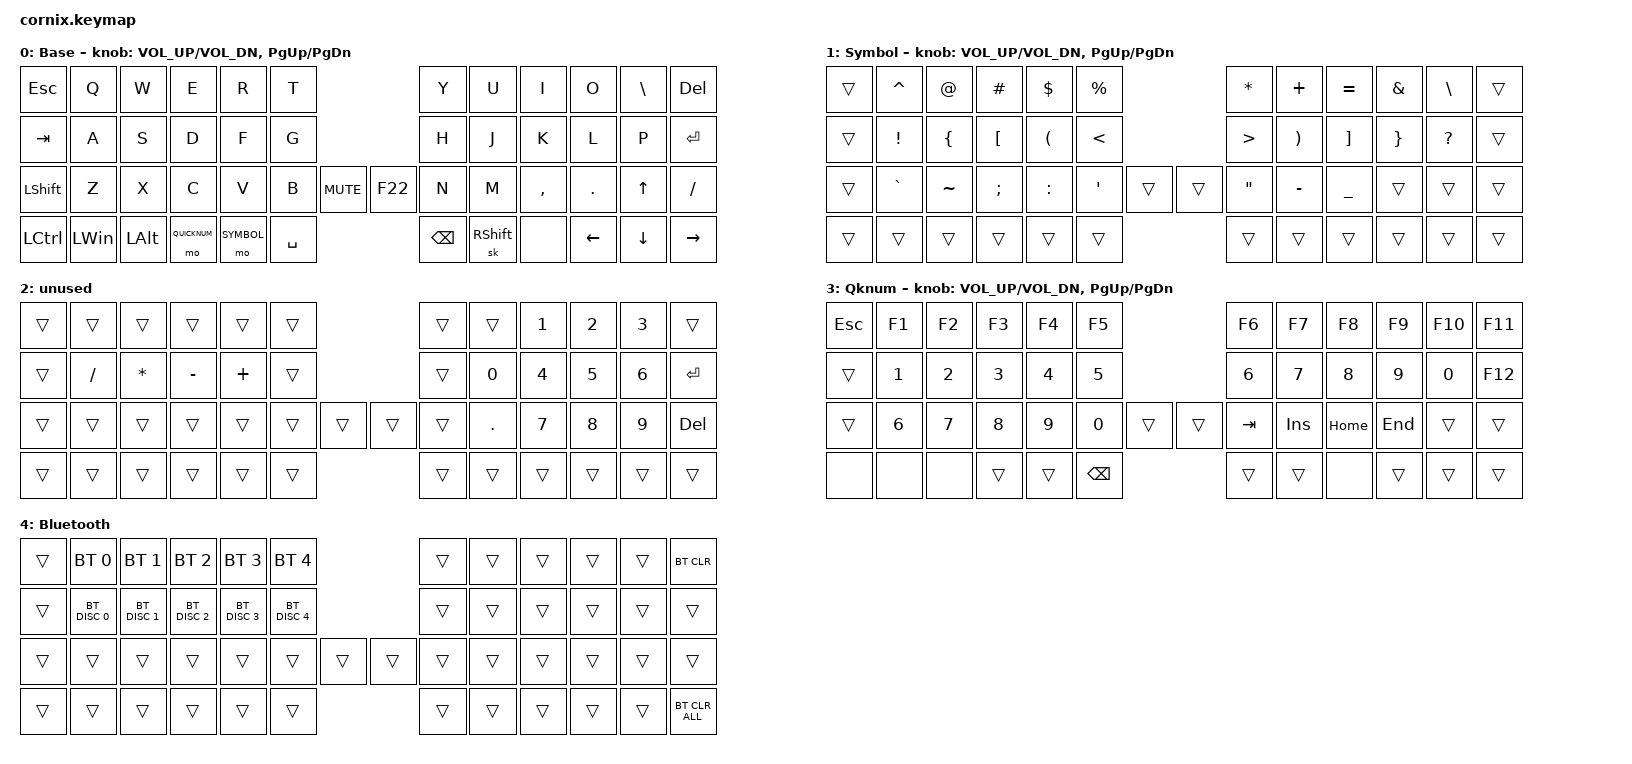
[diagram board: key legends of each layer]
/*
 * Copyright (c) 2020 The ZMK Contributors
 *
 * SPDX-License-Identifier: MIT
 */

#include "zmk-helpers/helper.h"
#include "includes/cornix54.h"

// tap windows for ctl alt and gui

#define HM_TAPPING_TERM 250
#define HM_TAPPING_REPEAT 210

// quick tapping for shift

#define HM_TAPPING_TERM_FAST 200
#define HM_PRIOR_IDLE 70

// Layer indices — MUST match the order the layers appear in `keymap` below.
// Bindings reference layers by these names, so reordering a layer block
// only requires updating this list, not hunting through bindings.

#define BASE 0
#define SYMBOL 1
#define NUMPAD 2
#define QUICKNUM 3
#define BLUETOOTH 4

// https://github.com/urob/zmk-config/tree/main#timeless-homerow-mods

#define KEYS_L LT0 LT1 LT2 LT3 LT4 LT5 LM0 LM1 LM2 LM3 LM4 LM5 LB0 LB1 LB2 LB3 LB4 LB5  // left hand
#define KEYS_R RT0 RT1 RT2 RT3 RT4 RT5 RM0 RM1 RM2 RM3 RM4 RM5 RB0 RB1 RB2 RB3 RB4 RB5  // right hand
#define THUMBS LH1 LH0 RH0 RH1
#define KEYS_T LH1 LH0 RH0 RH1
#define ZMK_POINTING_DEFAULT_SCRL_VAL 15

#include <behaviors.dtsi>
#include <dt-bindings/zmk/bt.h>
#include <dt-bindings/zmk/keys.h>

/ {
    // Bluetooth layer is active ONLY while both layer thumbs are held:
    // the Symbol thumb (&mo SYMBOL) and the QuickNum thumb (&mo QUICKNUM).
    // It is inherently momentary — releasing either thumb drops it.

    behaviors {
        // Positional Homerow mods for shift
        // Use faster tapping term and disable some features that may
        // cause false negatives.
        /*
         * Non-Positional Homerow Mods
         * Used for &mm_grescm_gui behavior on left hand.
         *
         * Usage: &hm LSHFT T
         * Tap: T
         * Tap-Tap-Hold: Repeat T
         * Hold: LSHIFT
         */
    };

    conditional_layers {
        compatible = "zmk,conditional-layers";

        bluetooth_layer {
            if-layers = <SYMBOL QUICKNUM>;
            then-layer = <BLUETOOTH>;
        };
    };

    combos { compatible = "zmk,combos"; };

    keymap {
        compatible = "zmk,keymap";

        Base {
            display-name = "Base";

            // ------------------------------------------------------------------------------------------------------------
            // |   `   |  1  |  2  |  3   |  4   |  5   |                   |  6   |  7    |  8    |  9   |   0   |       |
            // |  ESC  |  Q  |  W  |  E   |  R   |  T   |                   |  Y   |  U    |  I    |  O   |   P   | BKSPC |
            // |  TAB  |  A  |  S  |  D   |  F   |  G   |                   |  H   |  J    |  K    |  L   |   ;   |   '   |
            // | SHIFT |  Z  |  X  |  C   |  V   |  B   |  MUTE  |  |       |  N   |  M    |  ,    |  .   |   /   | SHIFT |
            //               | GUI | ALT  | CTRL | QKNUM| SPACE2 |  | BKSPC | SFT2 |  --  | LEFT  | DOWN | RIGHT |

            bindings = <
&kp ESCAPE      &kp Q         &kp W         &kp E         &kp R       &kp T                           &kp Y          &kp U            &kp I      &kp O     &kp BACKSLASH   &kp DELETE
&kp TAB         &kp A         &kp S         &kp D         &kp F       &kp G                           &kp H          &kp J            &kp K      &kp L     &kp P           &kp ENTER
&kp LEFT_SHIFT  &kp Z         &kp X         &kp C         &kp V       &kp B      &kp C_MUTE  &kp F22  &kp N          &kp M            &kp COMMA  &kp DOT   &kp UP_ARROW    &kp SLASH
&kp LCTRL       &kp LEFT_WIN  &kp LEFT_ALT  &mo QUICKNUM  &mo SYMBOL  &kp SPACE                       &kp BACKSPACE  &sk RIGHT_SHIFT  &none      &kp LEFT  &kp DOWN_ARROW  &kp RIGHT
            >;

            sensor-bindings = <&inc_dec_kp C_VOL_UP C_VOL_DN &inc_dec_kp PG_UP PG_DN>;
        };

        Symbol {
            display-name = "Symbol";

            // ------------------------------------------------------------------------------------------------------------
            // |   `   |  1  |  2  |  3   |  4   |  5   |                   |  6   |  7    |  8    |  9   |   0   |       |
            // |  ESC  |  Q  |  W  |  E   |  R   |  T   |                   |  Y   |  U    |  I    |  O   |   P   | BKSPC |
            // |  TAB  |  A  |  S  |  D   |  F   |  G   |                   |  H   |  J    |  K    |  L   |   ;   |   '   |
            // | SHIFT |  Z  |  X  |  C   |  V   |  B   |  MUTE  |  |       |  N   |  M    |  ,    |  .   |   /   | SHIFT |
            //               | GUI | ALT  | CTRL | LOWER|  ENTER |  | SPACE | RAISE| CTRL  | ALT   | GUI  |

            bindings = <
&trans  &kp CARET        &kp AT_SIGN     &kp HASH          &kp DOLLAR            &kp PERCENT                    &kp ASTERISK       &kp PLUS               &kp EQUAL          &kp AMPERSAND    &kp BACKSLASH  &trans
&trans  &kp EXCLAMATION  &kp LEFT_BRACE  &kp LEFT_BRACKET  &kp LEFT_PARENTHESIS  &kp LESS_THAN                  &kp GREATER_THAN   &kp RIGHT_PARENTHESIS  &kp RIGHT_BRACKET  &kp RIGHT_BRACE  &kp QUESTION   &trans
&trans  &kp GRAVE        &kp TILDE       &kp SEMICOLON     &kp COLON             &kp SQT        &trans  &trans  &kp DOUBLE_QUOTES  &kp MINUS              &kp UNDERSCORE     &trans           &trans         &trans
&trans  &trans           &trans          &trans            &trans                &trans                         &trans             &trans                 &trans             &trans           &trans         &trans
            >;

            sensor-bindings = <&inc_dec_kp C_VOL_UP C_VOL_DN &inc_dec_kp PG_UP PG_DN>;
        };

        unused {
            display-name = "unused";

            // ----------------------------------------------------------------------------------------------------------------------------
            // | BTCLR  |  BT1    |  BT2    |   BT3   |   BT4   |   BT5   |                  |      |      |       |      |       |       |
            // | moDEBUG| RGB_HUD | RGB_HUI | RGB_SAD | RGB_SAI | RGB_EFF |                  |      |      |       |      |       |       |
            // | EXTPWR | RGB_BRD | RGB_BRI |         |         |         |                  |      |      |       |      |       |       |
            // |        |         |         |         |         |         | RGB_TOG | |      |      |      |       |      |       |       |
            //                    |         |         |         |         |         | |      |      |      |       |      |

            bindings = <
&trans  &trans    &trans        &trans     &trans    &trans                  &trans  &trans      &kp N1  &kp N2  &kp N3  &trans
&trans  &kp FSLH  &kp ASTERISK  &kp MINUS  &kp PLUS  &trans                  &trans  &kp N0      &kp N4  &kp N5  &kp N6  &kp ENTER
&trans  &trans    &trans        &trans     &trans    &trans  &trans  &trans  &trans  &kp PERIOD  &kp N7  &kp N8  &kp N9  &kp DEL
&trans  &trans    &trans        &trans     &trans    &trans                  &trans  &trans      &trans  &trans  &trans  &trans
            >;
        };

        QuickNum {
            display-name = "Qknum";

            // ------------------------------------------------------------------------------------------------------------
            // | BTCLR | BT1  | BT2  |  BT3  |  BT4  |  BT5 |                |      |      |       |      |       |       |
            // |       | INS  | PSCR | GUI   |       |      |                | PGUP |      |   ^   |      |       |       |
            // |       | ALT  | CTRL | SHIFT |       | CAPS |                | PGDN |   <- |   v   |  ->  |  DEL  | BKSPC |
            // |       | UNDO | CUT  | COPY  | PASTE |      |      |  |      |      |      |       |      |       |       |
            //                |      |       |       |      |      |  |      |      |      |       |      |

            bindings = <
&kp ESC  &kp F1        &kp F2        &kp F3  &kp F4        &kp F5                         &kp F6        &kp F7   &kp F8    &kp F9   &kp F10  &kp F11
&trans   &kp NUMBER_1  &kp NUMBER_2  &kp N3  &kp NUMBER_4  &kp N5                         &kp NUMBER_6  &kp N7   &kp N8    &kp N9   &kp N0   &kp F12
&trans   &kp N6        &kp N7        &kp N8  &kp N9        &kp N0         &trans  &trans  &kp TAB       &kp INS  &kp HOME  &kp END  &trans   &trans
&none    &none         &none         &trans  &trans        &kp BACKSPACE                  &trans        &trans   &none     &trans   &trans   &trans
            >;

            sensor-bindings = <&inc_dec_kp C_VOL_UP C_VOL_DN &inc_dec_kp PG_UP PG_DN>;
        };

        Bluetooth {
            display-name = "Bluetooth";

            // Active only while Symbol thumb + QuickNum thumb are both held
            // (see conditional_layers above). Momentary — no exit key needed.

            bindings = <
&trans  &bt BT_SEL 0   &bt BT_SEL 1   &bt BT_SEL 2   &bt BT_SEL 3   &bt BT_SEL 4                   &trans  &trans  &trans  &trans  &trans  &bt BT_CLR
&trans  &bt BT_DISC 0  &bt BT_DISC 1  &bt BT_DISC 2  &bt BT_DISC 3  &bt BT_DISC 4                  &trans  &trans  &trans  &trans  &trans  &trans
&trans  &trans         &trans         &trans         &trans         &trans         &trans  &trans  &trans  &trans  &trans  &trans  &trans  &trans
&trans  &trans         &trans         &trans         &trans         &trans                         &trans  &trans  &trans  &trans  &trans  &bt BT_CLR_ALL
            >;
        };
    };
};
